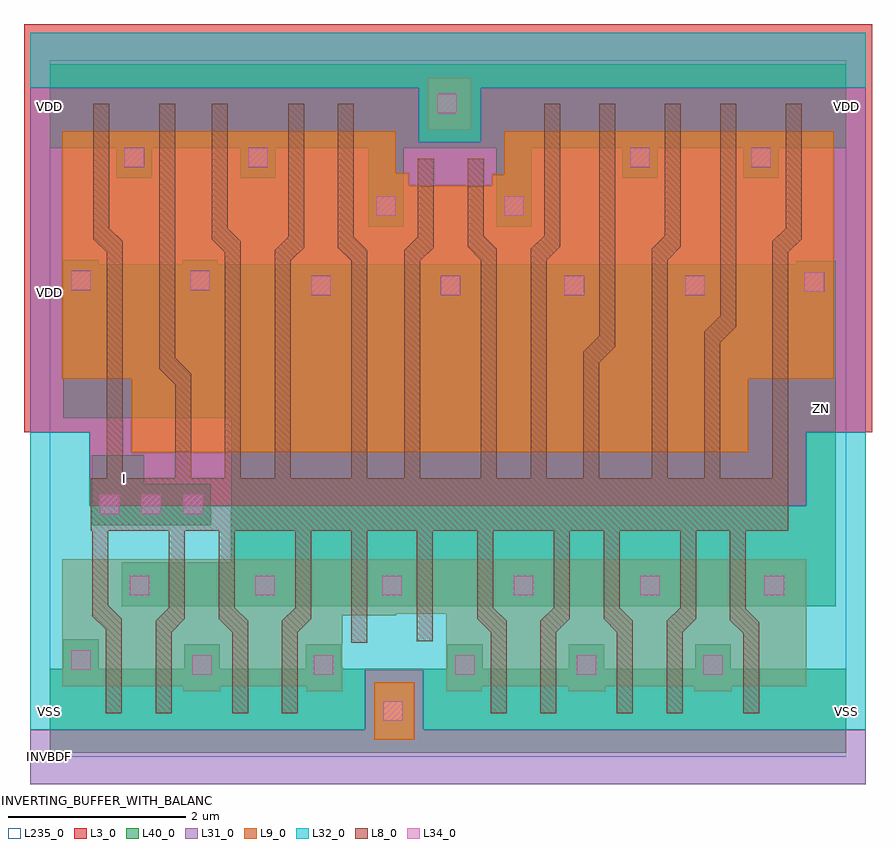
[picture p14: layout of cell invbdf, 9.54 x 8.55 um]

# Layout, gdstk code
import gdstk
lib = gdstk.Library(unit=1e-6, precision=1e-09)
def R(c, l, rs):  # rectangles x0, y0, x1, y1
    for r in rs: c.add(gdstk.rectangle(r[:2], r[2:], *l))
def A(c, l, x, y, w, h, nx, ny, dx, dy):  # array of equal rectangles
    R(c, l, [(x+i*dx, y+j*dy, x+i*dx+w, y+j*dy+h) for i in range(nx) for j in range(ny)])
def P(c, l, *ps):  # polygons
    for p in ps: c.add(gdstk.Polygon(p, *l))
L3_0 = (3, 0)
L8_0 = (8, 0)
L9_0 = (9, 0)
L31_0 = (31, 0)
L32_0 = (32, 0)
L34_0 = (34, 0)
L40_0 = (40, 0)
L235_0 = (235, 0)

invbdf = lib.new_cell('invbdf')
P(invbdf, L3_0, [(9.25,8.245),(9.25,3.65),(8.51,3.65),(8.51,2.825),(0.45,2.825),(0.45,3.65),(-0.29,3.65),(-0.29,8.245)])
P(invbdf, L8_0, [(0.46,2.545),(0.48,2.545),(0.48,1.585),(0.63,1.435),(0.63,0.49),(0.81,0.49),(0.81,1.555),(0.66,1.705),(0.66,2.545),(1.34,2.545),(1.34,1.68),(1.19,1.53),(1.19,0.49),(1.37,0.49),(1.37,1.405),(1.52,1.555),(1.52,2.545),(1.9,2.545),(1.9,1.555),(2.05,1.405),(2.05,0.49),(2.23,0.49),(2.23,1.53),(2.08,1.68),(2.08,2.545),(2.76,2.545),(2.76,1.68),(2.61,1.53),(2.61,0.49),(2.79,0.49),(2.79,1.405),(2.94,1.555),(2.94,2.545),(3.39,2.545),(3.39,1.285),(3.57,1.285),(3.57,2.545),(4.13,2.545),(4.13,1.3),(4.31,1.3),(4.31,2.545),(7.65,2.545),(7.65,1.54),(7.8,1.39),(7.8,0.49),(7.98,0.49),(7.98,1.515),(7.83,1.665),(7.83,2.545),(8.31,2.545),(8.31,5.675),(8.46,5.825),(8.46,7.35),(8.28,7.35),(8.28,5.95),(8.13,5.8),(8.13,3.135),(7.54,3.135),(7.54,4.66),(7.72,4.84),(7.72,7.35),(7.54,7.35),(7.54,4.965),(7.36,4.785),(7.36,3.135),(6.95,3.135),(6.95,5.59),(7.1,5.74),(7.1,7.35),(6.92,7.35),(6.92,5.865),(6.77,5.715),(6.77,3.135),(6.18,3.135),(6.18,4.435),(6.36,4.615),(6.36,7.35),(6.18,7.35),(6.18,4.74),(6,4.56),(6,3.135),(5.59,3.135),(5.59,5.59),(5.74,5.74),(5.74,7.35),(5.56,7.35),(5.56,5.865),(5.41,5.715),(5.41,3.135),(5.03,3.135),(5.03,5.715),(4.88,5.865),(4.88,6.73),(4.7,6.73),(4.7,5.74),(4.85,5.59),(4.85,3.135),(4.17,3.135),(4.17,5.58),(4.32,5.73),(4.32,6.73),(4.14,6.73),(4.14,5.85),(3.99,5.7),(3.99,3.135),(3.57,3.135),(3.57,5.7),(3.42,5.85),(3.42,7.35),(3.24,7.35),(3.24,5.73),(3.39,5.58),(3.39,3.135),(2.71,3.135),(2.71,5.58),(2.86,5.73),(2.86,7.35),(2.68,7.35),(2.68,5.85),(2.53,5.7),(2.53,3.135),(2.15,3.135),(2.15,5.8),(2,5.95),(2,7.35),(1.82,7.35),(1.82,5.825),(1.97,5.675),(1.97,3.135),(1.59,3.135),(1.59,4.31),(1.41,4.49),(1.41,7.35),(1.23,7.35),(1.23,4.365),(1.41,4.185),(1.41,3.135),(0.82,3.135),(0.82,5.8),(0.67,5.95),(0.67,7.35),(0.49,7.35),(0.49,5.825),(0.64,5.675),(0.64,3.135),(0.46,3.135)],
  [(5.14,1.53),(4.99,1.68),(4.99,2.545),(4.81,2.545),(4.81,1.555),(4.96,1.405),(4.96,0.49),(5.14,0.49)],
  [(5.7,1.405),(5.85,1.555),(5.85,2.545),(5.67,2.545),(5.67,1.68),(5.52,1.53),(5.52,0.49),(5.7,0.49)],
  [(6.56,1.53),(6.41,1.68),(6.41,2.545),(6.23,2.545),(6.23,1.555),(6.38,1.405),(6.38,0.49),(6.56,0.49)],
  [(7.12,1.405),(7.27,1.555),(7.27,2.545),(7.09,2.545),(7.09,1.68),(6.94,1.53),(6.94,0.49),(7.12,0.49)])
R(invbdf, L9_0, [(3.65,0.195,4.1,0.84), (4.25,7.055,4.74,7.64)])
P(invbdf, L9_0, [(8.51,2.225),(8.51,0.795),(7.67,0.795),(7.67,0.74),(7.25,0.74),(7.25,0.795),(6.25,0.795),(6.25,0.74),(5.83,0.74),(5.83,0.795),(4.86,0.795),(4.86,0.74),(4.46,0.74),(4.46,1.61),(3.9,1.61),(3.9,1.595),(3.29,1.595),(3.29,0.74),(2.89,0.74),(2.89,0.795),(1.92,0.795),(1.92,0.74),(1.5,0.74),(1.5,0.795),(0.14,0.795),(0.14,2.225)],
  [(8.82,7.04),(8.82,4.255),(7.86,4.255),(7.86,3.43),(0.92,3.43),(0.92,4.255),(0.14,4.255),(0.14,7.04),(3.89,7.04),(3.89,6.565),(4.04,6.565),(4.04,6.425),(4.98,6.425),(4.98,6.55),(5.11,6.55),(5.11,7.04)])
P(invbdf, L31_0, [(4.2,0.98),(4.2,0.305),(9.18,0.305),(9.18,-0.305),(-0.22,-0.305),(-0.22,0.305),(3.55,0.305),(3.55,0.98)],
  [(9.18,7.53),(9.18,3.65),(8.51,3.65),(8.51,2.825),(0.45,2.825),(0.45,3.65),(-0.22,3.65),(-0.22,7.53),(4.15,7.53),(4.15,6.915),(4.85,6.915),(4.85,7.53)])
P(invbdf, L32_0, [(9.18,3.65),(9.18,0.305),(4.2,0.305),(4.2,0.98),(3.55,0.98),(3.55,0.305),(-0.22,0.305),(-0.22,3.65),(0.45,3.65),(0.45,2.825),(8.51,2.825),(8.51,3.65)],
  [(9.18,8.145),(9.18,7.53),(4.85,7.53),(4.85,6.915),(4.15,6.915),(4.15,7.53),(-0.22,7.53),(-0.22,8.145)])
A(invbdf, L34_0, 0.56, 2.73, 0.22, 0.22, 3, 1, 0.47, 0)
R(invbdf, L34_0, [(3.75,0.405,3.97,0.625), (1.6,0.925,1.82,1.145), (2.97,0.925,3.19,1.145), (4.56,0.925,4.78,1.145), (5.93,0.925,6.15,1.145), (7.35,0.925,7.57,1.145), (0.24,0.98,0.46,1.2), (0.9,1.82,1.12,2.04), (2.31,1.82,2.53,2.04), (3.74,1.82,3.96,2.04), (5.22,1.82,5.44,2.04), (6.64,1.82,6.86,2.04), (8.04,1.82,8.26,2.04), (2.94,5.195,3.16,5.415), (4.4,5.195,4.62,5.415), (5.79,5.195,6.01,5.415), (7.15,5.195,7.37,5.415), (8.49,5.235,8.71,5.455), (0.24,5.25,0.46,5.47), (1.58,5.25,1.8,5.47), (3.67,6.09,3.89,6.31), (5.11,6.09,5.33,6.31), (0.84,6.635,1.06,6.855), (2.23,6.635,2.45,6.855), (6.53,6.635,6.75,6.855), (7.89,6.635,8.11,6.855), (4.36,7.24,4.58,7.46)])
P(invbdf, L40_0, [(0,6.85),(0.75,6.85),(0.75,6.51),(1.15,6.51),(1.15,6.85),(2.14,6.85),(2.14,6.51),(2.54,6.51),(2.54,6.85),(3.58,6.85),(3.58,5.965),(3.98,5.965),(3.98,6.85),(5.02,6.85),(5.02,5.965),(5.42,5.965),(5.42,6.85),(6.44,6.85),(6.44,6.51),(6.84,6.51),(6.84,6.85),(7.8,6.85),(7.8,6.51),(8.2,6.51),(8.2,6.85),(8.96,6.85),(8.96,7.79),(0,7.79)],
  [(1.89,5.595),(1.49,5.595),(1.49,5.54),(0.55,5.54),(0.55,5.595),(0.15,5.595),(0.15,3.81),(2.04,3.81),(2.04,2.19),(0.81,2.19),(0.81,1.695),(8.84,1.695),(8.84,5.58),(8.4,5.58),(8.4,5.54),(1.89,5.54)],
  [(0.47,3.395),(0.47,2.605),(1.81,2.605),(1.81,3.075),(1.06,3.075),(1.06,3.395)],
  [(7.26,1.27),(7.26,0.99),(6.24,0.99),(6.24,1.27),(5.84,1.27),(5.84,0.99),(4.87,0.99),(4.87,1.27),(4.47,1.27),(4.47,0.99),(3.28,0.99),(3.28,1.27),(2.88,1.27),(2.88,0.99),(1.91,0.99),(1.91,1.27),(1.51,1.27),(1.51,0.99),(0.55,0.99),(0.55,1.325),(0.15,1.325),(0.15,0.99),(0,0.99),(0,0.045),(8.96,0.045),(8.96,0.99),(7.66,0.99),(7.66,1.27)])
R(invbdf, L235_0, [(0,0,8.96,7.84)])
invbdf.add(gdstk.Label('VDD', (0,5.23), layer=40, texttype=7))
invbdf.add(gdstk.Label('VDD', (0,5.23), layer=40, texttype=7))
invbdf.add(gdstk.Label('VDD', (0,5.23), layer=40, texttype=7))
invbdf.add(gdstk.Label('VDD', (0,5.23), layer=40, texttype=7))
invbdf.add(gdstk.Label('VDD', (0,5.23), layer=40, texttype=7))
invbdf.add(gdstk.Label('VDD', (0,5.23), layer=40, texttype=7))
invbdf.add(gdstk.Label('VDD', (0,5.23), layer=40, texttype=7))
invbdf.add(gdstk.Label('VDD', (0,5.23), layer=40, texttype=7))
invbdf.add(gdstk.Label('VDD', (0,5.23), layer=40, texttype=7))
invbdf.add(gdstk.Label('VDD', (0,5.23), layer=40, texttype=7))
invbdf.add(gdstk.Label('Copyright__c__2003__2004_Synopsys__Inc_', (0,-2.24), layer=96, texttype=0))
invbdf.add(gdstk.Label('DT__28_May_2003_16_58_48', (0,-1.68), layer=96, texttype=0))
invbdf.add(gdstk.Label('Rev__3', (0,-1.12), layer=96, texttype=0))
invbdf.add(gdstk.Label('INVERTING_BUFFER_WITH_BALANCED_RISE_FALL_TIME__15X_DRIVE', (0,-0.56), layer=96, texttype=0))
invbdf.add(gdstk.Label('INVBDF', (0,0), layer=96, texttype=0))
invbdf.add(gdstk.Label('Copyright (c) 2003, 2004 Synopsys, Inc.', (0,-2.24), layer=96, texttype=0))
invbdf.add(gdstk.Label('DT. 6-Jul-2003 11:40:29', (0,-1.68), layer=96, texttype=0))
invbdf.add(gdstk.Label('Rev. 5', (0,-1.12), layer=96, texttype=0))
invbdf.add(gdstk.Label('INVERTING BUFFER WITH BALANCED RISE/FALL TIME, 15X DRIVE', (0,-0.56), layer=96, texttype=0))
invbdf.add(gdstk.Label('INVBDF', (0,0), layer=96, texttype=0))
invbdf.add(gdstk.Label('ZN', (8.68,3.92), layer=40, texttype=7))
invbdf.add(gdstk.Label('I', (0.84,3.135), layer=40, texttype=7))
invbdf.add(gdstk.Label('VSS', (0,0.515), layer=40, texttype=7))
invbdf.add(gdstk.Label('VSS', (8.96,0.515), layer=40, texttype=7))
invbdf.add(gdstk.Label('VDD', (8.96,7.32), layer=40, texttype=7))
invbdf.add(gdstk.Label('VDD', (0,7.32), layer=40, texttype=7))

lib.write_gds('invbdf.gds')
